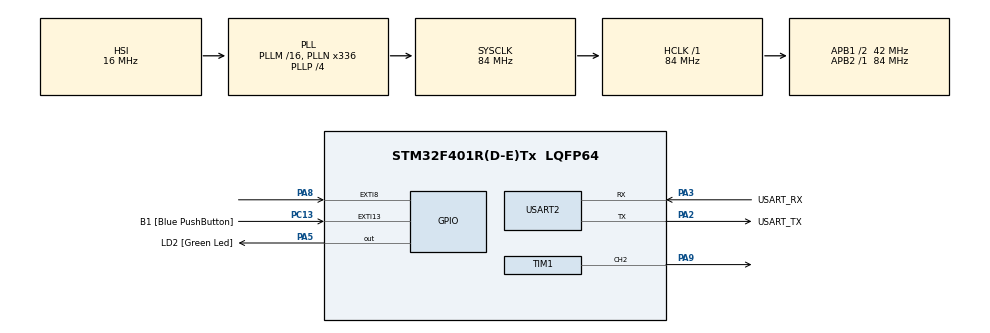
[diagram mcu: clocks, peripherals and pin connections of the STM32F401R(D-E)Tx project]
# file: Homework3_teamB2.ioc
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Mcu.Family=STM32F4
Mcu.Name=STM32F401R(D-E)Tx
Mcu.Package=LQFP64
NVIC.EXTI9_5_IRQn=true\:0\:0\:false\:false\:true\:true\:true\:true
NVIC.PriorityGroup=NVIC_PRIORITYGROUP_4
NVIC.TIM2_IRQn=true\:0\:0\:false\:false\:true\:true\:true\:true
PA13.GPIO_Label=TMS
PA13.Mode=Trace_Asynchronous_SW
PA13.Signal=SYS_JTMS-SWDIO
PA14.GPIO_Label=TCK
PA14.Mode=Trace_Asynchronous_SW
PA14.Signal=SYS_JTCK-SWCLK
PA2.GPIO_Label=USART_TX
PA2.GPIO_Mode=GPIO_MODE_AF_PP
PA2.GPIO_PuPd=GPIO_NOPULL
PA2.GPIO_Speed=GPIO_SPEED_FREQ_LOW
PA2.Mode=Asynchronous
PA2.Signal=USART2_TX
PA3.GPIO_Label=USART_RX
PA3.GPIO_Mode=GPIO_MODE_AF_PP
PA3.GPIO_PuPd=GPIO_NOPULL
PA3.GPIO_Speed=GPIO_SPEED_FREQ_LOW
PA3.Mode=Asynchronous
PA3.Signal=USART2_RX
PA5.GPIO_Label=LD2 [Green Led]
PA5.GPIO_Mode=GPIO_MODE_OUTPUT_PP
PA5.GPIO_PuPd=GPIO_NOPULL
PA5.GPIO_Speed=GPIO_SPEED_FREQ_LOW
PA5.Signal=GPIO_Output
PA8.GPIO_ModeDefaultEXTI=GPIO_MODE_IT_RISING
PA8.Signal=GPXTI8
PA9.Signal=S_TIM1_CH2
PB3.GPIO_Label=SWO
PB3.Mode=Trace_Asynchronous_SW
PB3.Signal=SYS_JTDO-SWO
PC13-ANTI_TAMP.GPIO_Label=B1 [Blue PushButton]
PC13-ANTI_TAMP.GPIO_ModeDefaultEXTI=GPIO_MODE_IT_FALLING
PC13-ANTI_TAMP.GPIO_PuPd=GPIO_NOPULL
PC13-ANTI_TAMP.Signal=GPXTI13
PC14-OSC32_IN.Mode=LSE-External-Oscillator
PC14-OSC32_IN.Signal=RCC_OSC32_IN
PC15-OSC32_OUT.Mode=LSE-External-Oscillator
PC15-OSC32_OUT.Signal=RCC_OSC32_OUT
PH0\ -\ OSC_IN.Mode=HSE-External-Clock-Source
PH0\ -\ OSC_IN.Signal=RCC_OSC_IN
PH1\ -\ OSC_OUT.Mode=HSE-External-Clock-Source
PH1\ -\ OSC_OUT.Signal=RCC_OSC_OUT
ProjectManager.HeapSize=0x200
ProjectManager.StackSize=0x400
ProjectManager.TargetToolchain=CMake
RCC.48MHZClocksFreq_Value=48000000
RCC.AHBFreq_Value=84000000
RCC.APB1CLKDivider=RCC_HCLK_DIV2
RCC.APB1Freq_Value=42000000
RCC.APB1TimFreq_Value=84000000
RCC.APB2Freq_Value=84000000
RCC.APB2TimFreq_Value=84000000
RCC.CortexFreq_Value=84000000
RCC.HCLKFreq_Value=84000000
RCC.HSE_VALUE=8000000
RCC.HSI_VALUE=16000000
RCC.PLLN=336
RCC.PLLP=RCC_PLLP_DIV4
RCC.PLLQ=7
RCC.SYSCLKFreq_VALUE=84000000
RCC.SYSCLKSource=RCC_SYSCLKSOURCE_PLLCLK
RCC.VCOOutputFreq_Value=336000000
SH.S_TIM1_CH2.0=TIM1_CH2,PWM Generation2 CH2
TIM1.Channel-PWM\ Generation2\ CH2=TIM_CHANNEL_2
TIM1.OC2Preload_PWM=DISABLE
TIM1.Period=214 -1
TIM1.Prescaler=1000 -1
TIM1.Pulse-PWM\ Generation2\ CH2=107 -1
TIM2.Period=2500-1
TIM2.Prescaler=8400-1
USART2.VirtualMode=VM_ASYNC
VP_TIM1_VS_ClockSourceINT.Mode=Internal
VP_TIM2_VS_ClockSourceINT.Mode=Internal
board=NUCLEO-F401RE

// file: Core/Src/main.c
/* USER CODE BEGIN Header */
/**
  ******************************************************************************
  * @file           : main.c
  * @brief          : Main program body
  ******************************************************************************
  * @attention
  *
  * Copyright (c) 2026 STMicroelectronics.
  * All rights reserved.
  *
  * This software is licensed under terms that can be found in the LICENSE file
  * in the root directory of this software component.
  * If no LICENSE file comes with this software, it is provided AS-IS.
  *
  ******************************************************************************
  */
/* USER CODE END Header */
#include "main.h"

/* USER CODE BEGIN PD */

#define MUSICLENGTH 64
#define CLOCK_FREQ 84000000U
#define PRESCALE 1000U

/* USER CODE END PD */

TIM_HandleTypeDef htim1;
TIM_HandleTypeDef htim2;

UART_HandleTypeDef huart2;

/* USER CODE BEGIN PV */

struct note {
  uint16_t period;
  uint16_t pulse;
};

// Struct containing each note's period and pulse
struct note notes[MUSICLENGTH];

// Frequencies of the 1/8 notes that should play the London's bridge song
// From the notes we got the realtive frequencies
int notes_frequencies[MUSICLENGTH] = {392, 392, 392, 440, 392, 392, 349, 349,
                                      330, 330, 349, 349, 392, 392, 392, 392,
                                      294, 294, 330, 330, 349, 349, 349, 349,
                                      330, 330,  349, 349, 392, 392, 392, 392,
                                      392, 392, 392, 440, 392, 392, 349, 349,
                                      330, 330, 349, 349, 392, 392, 392, 392,
                                      294, 294, 294, 294, 392, 392, 392, 392,
                                      330, 330, 262, 262, 262, 262, 262, 262};

// Auxiliary varibles for the execution
volatile int note_index = 0;
volatile int is_playing = 0;

/* USER CODE END PV */

void SystemClock_Config(void);
static void MX_GPIO_Init(void);
static void MX_TIM1_Init(void);
static void MX_TIM2_Init(void);
static void MX_USART2_UART_Init(void);

/* USER CODE BEGIN 0 */

// Initializing struct notes by appling this formula to all the notes:
// period = (clock_freq / prescaler / note_freq) - 1 to account that the count starts at 0
// pulse = clock_freq / prescaler / note_freq / 2
void initialize_notes(){

  uint32_t raw_period = 0;

  for (int i = 0; i < MUSICLENGTH; i++){
    raw_period = (uint32_t) (CLOCK_FREQ / PRESCALE / notes_frequencies[i]);
    notes[i].period = (uint16_t) (raw_period - 1);
    notes[i].pulse = (uint16_t) (raw_period / 2);
  }
}

// Interuppt caused by the 1/8 notes timer,
// we change note if there are still some
void HAL_TIM_PeriodElapsedCallback(TIM_HandleTypeDef *htim){
  if (htim == &htim2){
    // Next index
    note_index++;
    if (note_index < MUSICLENGTH){

      // If the current counter is higher or equal of the next period that we want to set:
      // reset the counter to 0, this to ensure no skipping notes
      if (__HAL_TIM_GET_COUNTER(&htim1) >= notes[note_index].period)
        __HAL_TIM_SET_COUNTER(&htim1, 0);

      //Change period and pulse to next note
      __HAL_TIM_SetAutoreload(&htim1, notes[note_index].period);
      __HAL_TIM_SetCompare(&htim1, TIM_CHANNEL_2, notes[note_index].pulse);
    } else {
      // We finished the notes to play, stop timers and reset varibles
      HAL_TIM_Base_Stop_IT(&htim2);
      HAL_TIM_PWM_Stop(&htim1, TIM_CHANNEL_2);
      note_index = 0;
      is_playing = 0;
    }
  }
}

// Interrupt caused by the microphone after registering a loud noise
void HAL_GPIO_EXTI_Callback(uint16_t GPIO_Pin){
  // is_playing is used both as a checker if we are already playing and as a software debouncer
  if (GPIO_Pin == GPIO_PIN_8 && !is_playing){
    is_playing = 1;
    note_index = 0;
    //Set the first note
    //Change period and pulse of first note
    __HAL_TIM_SetAutoreload(&htim1, notes[note_index].period);
    __HAL_TIM_SetCompare(&htim1, TIM_CHANNEL_2, notes[note_index].pulse);

    // Making sure that the counter is 0
    __HAL_TIM_SET_COUNTER(&htim1, 0);
    __HAL_TIM_SET_COUNTER(&htim2, 0);
    __HAL_TIM_CLEAR_IT(&htim2, TIM_IT_UPDATE);

    // Starting timers
    HAL_TIM_PWM_Start(&htim1, TIM_CHANNEL_2);
    HAL_TIM_Base_Start_IT(&htim2);
  }
}

/* USER CODE END 0 */

int main(void)
{

  /* MCU Configuration--------------------------------------------------------*/

  /* Reset of all peripherals, Initializes the Flash interface and the Systick. */
  HAL_Init();

  /* Configure the system clock */
  SystemClock_Config();

  /* Initialize all configured peripherals */
  MX_GPIO_Init();
  MX_TIM1_Init();
  MX_TIM2_Init();
  MX_USART2_UART_Init();
  /* USER CODE BEGIN 2 */

  // Initializing the notes struct with the period and pulse for each note
  initialize_notes();

  // Making sure that the counter is 0
  __HAL_TIM_SET_COUNTER(&htim2, 0);
  __HAL_TIM_CLEAR_IT(&htim2, TIM_IT_UPDATE);

  /* USER CODE END 2 */

  /* Infinite loop */
  while (1)
  {

  }
}

void SystemClock_Config(void)
{
  RCC_OscInitTypeDef RCC_OscInitStruct = {0};
  RCC_ClkInitTypeDef RCC_ClkInitStruct = {0};

  /** Configure the main internal regulator output voltage
  */
  __HAL_RCC_PWR_CLK_ENABLE();
  __HAL_PWR_VOLTAGESCALING_CONFIG(PWR_REGULATOR_VOLTAGE_SCALE2);

  /** Initializes the RCC Oscillators according to the specified parameters
  * in the RCC_OscInitTypeDef structure.
  */
  RCC_OscInitStruct.OscillatorType = RCC_OSCILLATORTYPE_HSI;
  RCC_OscInitStruct.HSIState = RCC_HSI_ON;
  RCC_OscInitStruct.HSICalibrationValue = RCC_HSICALIBRATION_DEFAULT;
  RCC_OscInitStruct.PLL.PLLState = RCC_PLL_ON;
  RCC_OscInitStruct.PLL.PLLSource = RCC_PLLSOURCE_HSI;
  RCC_OscInitStruct.PLL.PLLM = 16;
  RCC_OscInitStruct.PLL.PLLN = 336;
  RCC_OscInitStruct.PLL.PLLP = RCC_PLLP_DIV4;
  RCC_OscInitStruct.PLL.PLLQ = 7;
  if (HAL_RCC_OscConfig(&RCC_OscInitStruct) != HAL_OK)
  {
    Error_Handler();
  }

  /** Initializes the CPU, AHB and APB buses clocks
  */
  RCC_ClkInitStruct.ClockType = RCC_CLOCKTYPE_HCLK|RCC_CLOCKTYPE_SYSCLK
                              |RCC_CLOCKTYPE_PCLK1|RCC_CLOCKTYPE_PCLK2;
  RCC_ClkInitStruct.SYSCLKSource = RCC_SYSCLKSOURCE_PLLCLK;
  RCC_ClkInitStruct.AHBCLKDivider = RCC_SYSCLK_DIV1;
  RCC_ClkInitStruct.APB1CLKDivider = RCC_HCLK_DIV2;
  RCC_ClkInitStruct.APB2CLKDivider = RCC_HCLK_DIV1;

  if (HAL_RCC_ClockConfig(&RCC_ClkInitStruct, FLASH_LATENCY_2) != HAL_OK)
  {
    Error_Handler();
  }
}

static void MX_TIM1_Init(void)
{

  TIM_ClockConfigTypeDef sClockSourceConfig = {0};
  TIM_MasterConfigTypeDef sMasterConfig = {0};
  TIM_OC_InitTypeDef sConfigOC = {0};
  TIM_BreakDeadTimeConfigTypeDef sBreakDeadTimeConfig = {0};

  htim1.Instance = TIM1;
  htim1.Init.Prescaler = 1000 -1;
  htim1.Init.CounterMode = TIM_COUNTERMODE_UP;
  htim1.Init.Period = 214 -1;
  htim1.Init.ClockDivision = TIM_CLOCKDIVISION_DIV1;
  htim1.Init.RepetitionCounter = 0;
  htim1.Init.AutoReloadPreload = TIM_AUTORELOAD_PRELOAD_DISABLE;
  if (HAL_TIM_Base_Init(&htim1) != HAL_OK)
  {
    Error_Handler();
  }
  sClockSourceConfig.ClockSource = TIM_CLOCKSOURCE_INTERNAL;
  if (HAL_TIM_ConfigClockSource(&htim1, &sClockSourceConfig) != HAL_OK)
  {
    Error_Handler();
  }
  if (HAL_TIM_PWM_Init(&htim1) != HAL_OK)
  {
    Error_Handler();
  }
  sMasterConfig.MasterOutputTrigger = TIM_TRGO_RESET;
  sMasterConfig.MasterSlaveMode = TIM_MASTERSLAVEMODE_DISABLE;
  if (HAL_TIMEx_MasterConfigSynchronization(&htim1, &sMasterConfig) != HAL_OK)
  {
    Error_Handler();
  }
  sConfigOC.OCMode = TIM_OCMODE_PWM1;
  sConfigOC.Pulse = 107 -1;
  sConfigOC.OCPolarity = TIM_OCPOLARITY_HIGH;
  sConfigOC.OCNPolarity = TIM_OCNPOLARITY_HIGH;
  sConfigOC.OCFastMode = TIM_OCFAST_DISABLE;
  sConfigOC.OCIdleState = TIM_OCIDLESTATE_RESET;
  sConfigOC.OCNIdleState = TIM_OCNIDLESTATE_RESET;
  if (HAL_TIM_PWM_ConfigChannel(&htim1, &sConfigOC, TIM_CHANNEL_2) != HAL_OK)
  {
    Error_Handler();
  }
  __HAL_TIM_DISABLE_OCxPRELOAD(&htim1, TIM_CHANNEL_2);
  sBreakDeadTimeConfig.OffStateRunMode = TIM_OSSR_DISABLE;
  sBreakDeadTimeConfig.OffStateIDLEMode = TIM_OSSI_DISABLE;
  sBreakDeadTimeConfig.LockLevel = TIM_LOCKLEVEL_OFF;
  sBreakDeadTimeConfig.DeadTime = 0;
  sBreakDeadTimeConfig.BreakState = TIM_BREAK_DISABLE;
  sBreakDeadTimeConfig.BreakPolarity = TIM_BREAKPOLARITY_HIGH;
  sBreakDeadTimeConfig.AutomaticOutput = TIM_AUTOMATICOUTPUT_DISABLE;
  if (HAL_TIMEx_ConfigBreakDeadTime(&htim1, &sBreakDeadTimeConfig) != HAL_OK)
  {
    Error_Handler();
  }
  HAL_TIM_MspPostInit(&htim1);

}

static void MX_TIM2_Init(void)
{

  TIM_ClockConfigTypeDef sClockSourceConfig = {0};
  TIM_MasterConfigTypeDef sMasterConfig = {0};

  htim2.Instance = TIM2;
  htim2.Init.Prescaler = 8400-1;
  htim2.Init.CounterMode = TIM_COUNTERMODE_UP;
  htim2.Init.Period = 2500-1;
  htim2.Init.ClockDivision = TIM_CLOCKDIVISION_DIV1;
  htim2.Init.AutoReloadPreload = TIM_AUTORELOAD_PRELOAD_DISABLE;
  if (HAL_TIM_Base_Init(&htim2) != HAL_OK)
  {
    Error_Handler();
  }
  sClockSourceConfig.ClockSource = TIM_CLOCKSOURCE_INTERNAL;
  if (HAL_TIM_ConfigClockSource(&htim2, &sClockSourceConfig) != HAL_OK)
  {
    Error_Handler();
  }
  sMasterConfig.MasterOutputTrigger = TIM_TRGO_RESET;
  sMasterConfig.MasterSlaveMode = TIM_MASTERSLAVEMODE_DISABLE;
  if (HAL_TIMEx_MasterConfigSynchronization(&htim2, &sMasterConfig) != HAL_OK)
  {
    Error_Handler();
  }

}

static void MX_USART2_UART_Init(void)
{

  huart2.Instance = USART2;
  huart2.Init.BaudRate = 115200;
  huart2.Init.WordLength = UART_WORDLENGTH_8B;
  huart2.Init.StopBits = UART_STOPBITS_1;
  huart2.Init.Parity = UART_PARITY_NONE;
  huart2.Init.Mode = UART_MODE_TX_RX;
  huart2.Init.HwFlowCtl = UART_HWCONTROL_NONE;
  huart2.Init.OverSampling = UART_OVERSAMPLING_16;
  if (HAL_UART_Init(&huart2) != HAL_OK)
  {
    Error_Handler();
  }

}

static void MX_GPIO_Init(void)
{
  GPIO_InitTypeDef GPIO_InitStruct = {0};

  /* GPIO Ports Clock Enable */
  __HAL_RCC_GPIOC_CLK_ENABLE();
  __HAL_RCC_GPIOH_CLK_ENABLE();
  __HAL_RCC_GPIOA_CLK_ENABLE();
  __HAL_RCC_GPIOB_CLK_ENABLE();

  /*Configure GPIO pin Output Level */
  HAL_GPIO_WritePin(LD2_GPIO_Port, LD2_Pin, GPIO_PIN_RESET);

  /*Configure GPIO pin : B1_Pin */
  GPIO_InitStruct.Pin = B1_Pin;
  GPIO_InitStruct.Mode = GPIO_MODE_IT_FALLING;
  GPIO_InitStruct.Pull = GPIO_NOPULL;
  HAL_GPIO_Init(B1_GPIO_Port, &GPIO_InitStruct);

  /*Configure GPIO pin : LD2_Pin */
  GPIO_InitStruct.Pin = LD2_Pin;
  GPIO_InitStruct.Mode = GPIO_MODE_OUTPUT_PP;
  GPIO_InitStruct.Pull = GPIO_NOPULL;
  GPIO_InitStruct.Speed = GPIO_SPEED_FREQ_LOW;
  HAL_GPIO_Init(LD2_GPIO_Port, &GPIO_InitStruct);

  /*Configure GPIO pin : PA8 */
  GPIO_InitStruct.Pin = GPIO_PIN_8;
  GPIO_InitStruct.Mode = GPIO_MODE_IT_RISING;
  GPIO_InitStruct.Pull = GPIO_NOPULL;
  HAL_GPIO_Init(GPIOA, &GPIO_InitStruct);

  /* EXTI interrupt init*/
  HAL_NVIC_SetPriority(EXTI9_5_IRQn, 0, 0);
  HAL_NVIC_EnableIRQ(EXTI9_5_IRQn);

}

void Error_Handler(void)
{
  __disable_irq();
  while (1)
  {
  }
}
